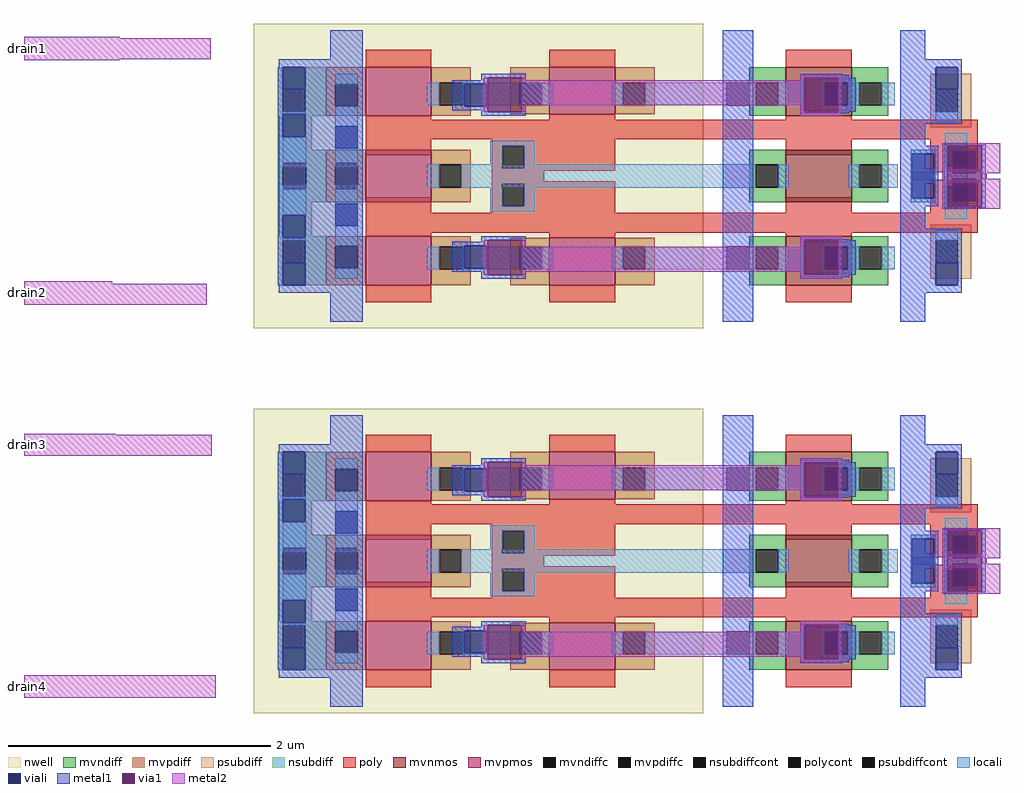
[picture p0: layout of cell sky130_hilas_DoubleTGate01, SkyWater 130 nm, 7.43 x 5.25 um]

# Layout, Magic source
magic
tech sky130A
<< metal2 >>
rect 0 514 73 515
rect 0 498 142 514
rect 0 497 73 498
rect 0 327 67 329
rect 0 311 139 327
rect 0 212 70 213
rect 0 196 143 212
rect 0 12 146 29
use sky130_hilas_TgateVinj01  sky130_hilas_TgateVinj01_0
transform 1 0 175 0 1 293
box 0 0 568 170
use sky130_hilas_TgateVinj01  sky130_hilas_TgateVinj01_3
transform 1 0 175 0 -1 232
box 0 0 568 170
use sky130_hilas_TgateVinj01  sky130_hilas_TgateVinj01_1
transform 1 0 175 0 -1 525
box 0 0 568 170
use sky130_hilas_TgateVinj01  sky130_hilas_TgateVinj01_2
transform 1 0 175 0 1 0
box 0 0 568 170
<< labels >>
rlabel metal2 0 497 5 515 0 drain1
rlabel metal2 0 311 5 329 0 drain2
rlabel metal2 0 196 5 213 0 drain3
rlabel metal2 0 12 5 29 0 drain4
<< properties >>
string LEFsite unithd
string LEFclass CORE
string LEFsymmetry X Y R90
<< end >>

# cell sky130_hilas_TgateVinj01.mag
magic
tech sky130A
<< nwell >>
rect 0 0 342 169
<< mvnmos >>
rect 405 100 455 136
rect 405 33 455 70
<< mvpmos >>
rect 85 100 135 136
rect 85 33 135 70
rect 225 33 275 69
<< mvndiff >>
rect 377 124 405 136
rect 377 107 382 124
rect 399 107 405 124
rect 377 100 405 107
rect 455 124 483 136
rect 455 107 461 124
rect 478 107 483 124
rect 455 100 483 107
rect 377 62 405 70
rect 377 45 382 62
rect 399 45 405 62
rect 377 33 405 45
rect 455 62 483 70
rect 455 45 461 62
rect 478 45 483 62
rect 455 33 483 45
<< mvpdiff >>
rect 55 123 85 136
rect 55 106 62 123
rect 79 106 85 123
rect 55 100 85 106
rect 135 124 165 136
rect 135 107 141 124
rect 158 107 165 124
rect 135 100 165 107
rect 55 63 85 70
rect 55 46 62 63
rect 79 46 85 63
rect 55 33 85 46
rect 135 62 165 70
rect 135 45 141 62
rect 159 45 165 62
rect 135 33 165 45
rect 195 62 225 69
rect 195 45 202 62
rect 219 45 225 62
rect 195 33 225 45
rect 275 62 305 69
rect 275 45 281 62
rect 298 45 305 62
rect 275 33 305 45
<< mvndiffc >>
rect 382 107 399 124
rect 461 107 478 124
rect 382 45 399 62
rect 461 45 478 62
<< mvpdiffc >>
rect 62 106 79 123
rect 141 107 158 124
rect 62 46 79 63
rect 141 45 159 62
rect 202 45 219 62
rect 281 45 298 62
<< psubdiff >>
rect 515 67 546 79
rect 515 50 519 67
rect 536 50 546 67
rect 515 38 546 50
<< nsubdiff >>
rect 18 123 55 136
rect 18 106 22 123
rect 40 106 55 123
rect 18 100 55 106
rect 18 70 44 100
rect 18 67 55 70
rect 18 50 22 67
rect 39 50 55 67
rect 18 33 55 50
<< psubdiffcont >>
rect 519 50 536 67
<< nsubdiffcont >>
rect 22 106 40 123
rect 22 50 39 67
<< poly >>
rect 85 144 551 159
rect 85 136 135 144
rect 405 136 455 144
rect 515 141 551 144
rect 181 112 221 116
rect 181 110 275 112
rect 85 70 135 100
rect 181 93 189 110
rect 206 93 275 110
rect 515 124 526 141
rect 543 124 551 141
rect 515 119 551 124
rect 181 88 275 93
rect 225 69 275 88
rect 405 70 455 100
rect 85 20 135 33
rect 225 20 275 33
rect 405 20 455 33
<< polycont >>
rect 189 93 206 110
rect 526 124 543 141
<< locali >>
rect 526 141 543 149
rect 22 123 40 131
rect 22 86 40 106
rect 62 123 79 131
rect 132 107 141 124
rect 158 110 382 124
rect 158 107 189 110
rect 62 95 79 106
rect 22 67 39 69
rect 180 93 189 107
rect 206 107 382 110
rect 399 107 407 124
rect 453 107 461 124
rect 478 107 490 124
rect 526 114 543 124
rect 206 93 214 107
rect 526 97 532 114
rect 526 93 543 97
rect 180 89 214 93
rect 62 63 79 78
rect 519 67 536 75
rect 62 38 79 46
rect 132 45 141 62
rect 159 46 160 62
rect 431 62 455 66
rect 177 46 202 62
rect 159 45 202 46
rect 219 45 228 62
rect 273 45 281 62
rect 298 45 360 62
rect 377 45 382 62
rect 399 45 407 62
rect 431 45 435 62
rect 452 45 461 62
rect 478 45 488 62
rect 431 42 455 45
<< viali >>
rect 22 69 39 86
rect 22 33 39 50
rect 62 78 79 95
rect 532 97 549 114
rect 160 46 177 63
rect 360 45 377 62
rect 435 45 452 62
rect 519 33 536 50
<< metal1 >>
rect 58 134 83 169
rect 19 95 83 134
rect 19 86 62 95
rect 19 70 22 86
rect 18 69 22 70
rect 39 78 62 86
rect 79 78 83 95
rect 39 69 83 78
rect 18 50 83 69
rect 173 67 207 70
rect 173 66 178 67
rect 18 34 22 50
rect 19 33 22 34
rect 39 33 83 50
rect 151 63 178 66
rect 151 46 160 63
rect 177 46 178 63
rect 151 43 178 46
rect 173 41 178 43
rect 204 62 207 67
rect 357 62 380 170
rect 492 76 511 170
rect 525 119 557 120
rect 525 93 528 119
rect 554 93 557 119
rect 525 92 557 93
rect 204 45 219 62
rect 357 45 360 62
rect 377 45 380 62
rect 204 41 207 45
rect 173 38 207 41
rect 19 27 83 33
rect 58 5 83 27
rect 357 5 380 45
rect 416 67 453 68
rect 416 41 419 67
rect 445 62 458 67
rect 452 45 458 62
rect 445 41 458 45
rect 492 50 539 76
rect 416 39 453 41
rect 492 33 519 50
rect 536 33 539 50
rect 492 27 539 33
rect 492 5 511 27
<< via1 >>
rect 178 41 204 67
rect 528 114 554 119
rect 528 97 532 114
rect 532 97 549 114
rect 549 97 554 114
rect 528 93 554 97
rect 419 62 445 67
rect 419 45 435 62
rect 435 45 445 62
rect 419 41 445 45
<< metal2 >>
rect 524 119 558 121
rect 524 93 528 119
rect 554 114 558 119
rect 554 93 568 114
rect 524 91 568 93
rect 416 67 448 70
rect 175 41 178 67
rect 204 62 207 67
rect 416 62 419 67
rect 204 43 419 62
rect 204 41 207 43
rect 416 41 419 43
rect 445 41 448 67
rect 416 38 448 41
use sky130_hilas_li2m1  sky130_hilas_li2m1_0
transform 1 0 498 0 1 110
box 0 0 23 29
<< properties >>
string LEFsite unithd
string LEFclass CORE
string LEFsymmetry X Y R90
<< end >>

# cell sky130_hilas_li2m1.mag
magic
tech sky130A
<< locali >>
rect 2 23 21 26
rect 2 6 3 23
rect 20 6 21 23
rect 2 3 21 6
<< viali >>
rect 3 6 20 23
<< metal1 >>
rect 0 23 23 29
rect 0 6 3 23
rect 20 6 23 23
rect 0 0 23 6
<< properties >>
string LEFsite unithd
string LEFclass CORE
string LEFsymmetry X Y R90
<< end >>
